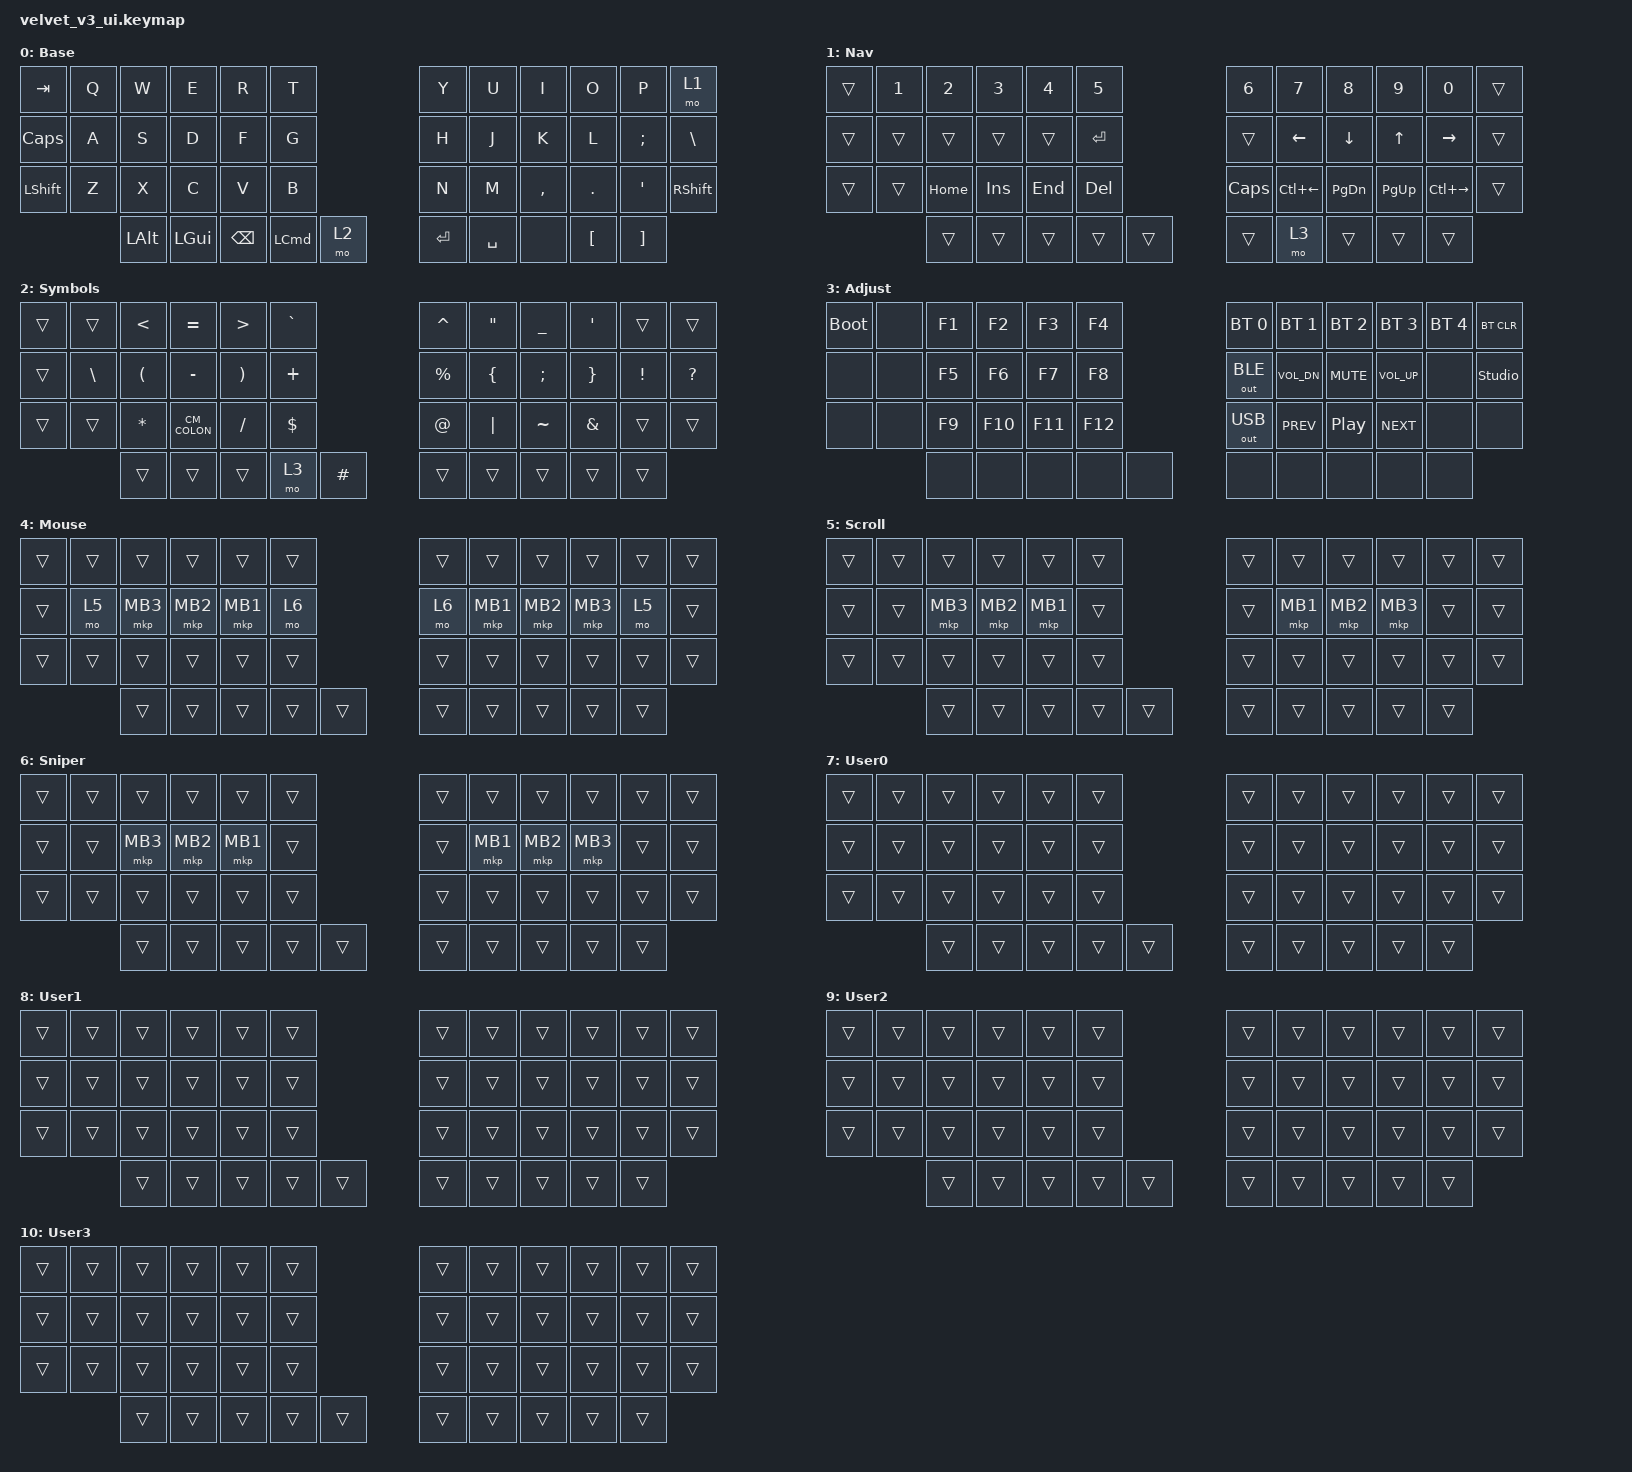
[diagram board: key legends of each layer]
#include "keys_ru.h"
#include "colemak_keys.h"
#include <dt-bindings/zmk/input_transform.h>
#include <input/processors.dtsi>
#include <zephyr/dt-bindings/input/input-event-codes.h>
#include <behaviors.dtsi>
#include <dt-bindings/zmk/bt.h>
#include <dt-bindings/zmk/keys.h>
#include <dt-bindings/zmk/outputs.h>
#include <dt-bindings/zmk/pointing.h>

/ {
    behaviors {
        cap_sen: cap_sen {
            compatible = "zmk,behavior-hold-tap";
            label = "CAP_SEN";
            bindings = <&mo>, <&mkp>;

            #binding-cells = <2>;
            tapping-term-ms = <150>;
            hold-while-undecided;
        };

        mouse_layer: mouse_layer {
            compatible = "zmk,behavior-sticky-key";
            label = "MOUSE_LAYER";
            bindings = <&mo>;
            #binding-cells = <1>;
            release-after-ms = <200>;
        };

        zip_auto_mouse: zip_auto_mouse {
            compatible = "zmk,input-processor-temp-layer";
            #input-processor-cells = <2>;
            require-prior-idle-ms = <800>;
            excluded-positions = <>;
        };
    };

    combos {
        compatible = "zmk,combos";

        left-curly-brace {
            bindings = <&kp LEFT_BRACE>;
            key-positions = <15 16>;
        };

        right-curly-bracen {
            bindings = <&kp RIGHT_BRACE>;
            key-positions = <19 20>;
        };
    };

    keymap {
        compatible = "zmk,keymap";

        base {
            bindings = <
&kp TAB       &kp Q  &kp W     &kp E     &kp R          &kp T                               &kp Y      &kp U  &kp I      &kp O     &kp P     &mo 1
&kp CAPSLOCK  &kp A  &kp S     &kp D     &kp F          &kp G                               &kp H      &kp J  &kp K      &kp L     &kp SEMI  &kp BSLH
&kp LSHFT     &kp Z  &kp X     &kp C     &kp V          &kp B                               &kp N      &kp M  &kp COMMA  &kp DOT   &kp SQT   &kp RSHFT
                     &kp LALT  &kp LGUI  &kp BACKSPACE  &kp LEFT_COMMAND  &mo 2    &kp RET  &kp SPACE  &none  &kp LBKT   &kp RBKT
            >;

            display-name = "Base";
        };

        nav {
            bindings = <
&trans  &kp N1  &kp N2    &kp N3   &kp N4   &kp N5                     &kp N6    &kp N7        &kp N8         &kp N9       &kp N0         &trans
&trans  &trans  &trans    &trans   &trans   &kp RET                    &trans    &kp LEFT      &kp DOWN       &kp UP       &kp RIGHT      &trans
&trans  &trans  &kp HOME  &kp INS  &kp END  &kp DEL                    &kp CLCK  &kp LC(LEFT)  &kp PAGE_DOWN  &kp PAGE_UP  &kp LC(RIGHT)  &trans
                &trans    &trans   &trans   &trans   &trans    &trans  &mo 3     &trans        &trans         &trans
            >;

            display-name = "Nav";
        };

        sym {
            bindings = <
&trans  &trans    &kp LT    &kp EQUAL  &kp GT    &kp GRAVE                      &kp CARET  &kp DQT   &kp UNDER  &kp SQT   &trans    &trans
&trans  &kp BSLH  &kp LPAR  &kp MINUS  &kp RPAR  &kp PLUS                       &kp PRCNT  &kp LBRC  &kp SEMI   &kp RBRC  &kp EXCL  &kp QUESTION
&trans  &trans    &kp STAR  &kp CM_COLON  &kp FSLH  &kp DLLR                       &kp AT     &kp PIPE  &kp TILDE  &kp AMPS  &trans    &trans
                  &trans    &trans     &trans    &mo 3      &kp HASH    &trans  &trans     &trans    &trans     &trans
            >;

            display-name = "Symbols";
        };

        adj {
            bindings = <
&bootloader  &none  &kp F1  &kp F2   &kp F3   &kp F4                   &bt BT_SEL 0  &bt BT_SEL 1  &bt BT_SEL 2      &bt BT_SEL 3  &bt BT_SEL 4  &bt BT_CLR
&none        &none  &kp F5  &kp F6   &kp F7   &kp F8                   &out OUT_BLE  &kp C_VOL_DN  &kp C_MUTE        &kp C_VOL_UP  &none         &studio_unlock
&none        &none  &kp F9  &kp F10  &kp F11  &kp F12                  &out OUT_USB  &kp C_PREV    &kp C_PLAY_PAUSE  &kp C_NEXT    &none         &none
                    &none   &none    &none    &none    &none    &none  &none         &none         &none             &none
            >;

            display-name = "Adjust";
        };

        mouse {
            bindings = <
&trans  &trans  &trans    &trans    &trans    &trans                    &trans  &trans    &trans    &trans    &trans  &trans
&trans  &mo 5   &mkp MB3  &mkp MB2  &mkp MB1  &mo 6                     &mo 6   &mkp MB1  &mkp MB2  &mkp MB3  &mo 5   &trans
&trans  &trans  &trans    &trans    &trans    &trans                    &trans  &trans    &trans    &trans    &trans  &trans
                &trans    &trans    &trans    &trans  &trans    &trans  &trans  &trans    &trans    &trans
            >;

            display-name = "Mouse";
        };

        scroll {
            bindings = <
&trans  &trans  &trans    &trans    &trans    &trans                    &trans  &trans    &trans    &trans    &trans  &trans
&trans  &trans  &mkp MB3  &mkp MB2  &mkp MB1  &trans                    &trans  &mkp MB1  &mkp MB2  &mkp MB3  &trans  &trans
&trans  &trans  &trans    &trans    &trans    &trans                    &trans  &trans    &trans    &trans    &trans  &trans
                &trans    &trans    &trans    &trans  &trans    &trans  &trans  &trans    &trans    &trans
            >;

            display-name = "Scroll";
        };

        sniper {
            bindings = <
&trans  &trans  &trans    &trans    &trans    &trans                    &trans  &trans    &trans    &trans    &trans  &trans
&trans  &trans  &mkp MB3  &mkp MB2  &mkp MB1  &trans                    &trans  &mkp MB1  &mkp MB2  &mkp MB3  &trans  &trans
&trans  &trans  &trans    &trans    &trans    &trans                    &trans  &trans    &trans    &trans    &trans  &trans
                &trans    &trans    &trans    &trans  &trans    &trans  &trans  &trans    &trans    &trans
            >;

            display-name = "Sniper";
        };

        User0 {
            bindings = <
&trans  &trans  &trans  &trans  &trans  &trans                    &trans  &trans  &trans  &trans  &trans  &trans
&trans  &trans  &trans  &trans  &trans  &trans                    &trans  &trans  &trans  &trans  &trans  &trans
&trans  &trans  &trans  &trans  &trans  &trans                    &trans  &trans  &trans  &trans  &trans  &trans
                &trans  &trans  &trans  &trans  &trans    &trans  &trans  &trans  &trans  &trans
            >;

            display-name = "User0";
        };

        User1 {
            bindings = <
&trans  &trans  &trans  &trans  &trans  &trans                    &trans  &trans  &trans  &trans  &trans  &trans
&trans  &trans  &trans  &trans  &trans  &trans                    &trans  &trans  &trans  &trans  &trans  &trans
&trans  &trans  &trans  &trans  &trans  &trans                    &trans  &trans  &trans  &trans  &trans  &trans
                &trans  &trans  &trans  &trans  &trans    &trans  &trans  &trans  &trans  &trans
            >;

            display-name = "User1";
        };

        User2 {
            bindings = <
&trans  &trans  &trans  &trans  &trans  &trans                    &trans  &trans  &trans  &trans  &trans  &trans
&trans  &trans  &trans  &trans  &trans  &trans                    &trans  &trans  &trans  &trans  &trans  &trans
&trans  &trans  &trans  &trans  &trans  &trans                    &trans  &trans  &trans  &trans  &trans  &trans
                &trans  &trans  &trans  &trans  &trans    &trans  &trans  &trans  &trans  &trans
            >;

            display-name = "User2";
        };

        User3 {
            bindings = <
&trans  &trans  &trans  &trans  &trans  &trans                    &trans  &trans  &trans  &trans  &trans  &trans
&trans  &trans  &trans  &trans  &trans  &trans                    &trans  &trans  &trans  &trans  &trans  &trans
&trans  &trans  &trans  &trans  &trans  &trans                    &trans  &trans  &trans  &trans  &trans  &trans
                &trans  &trans  &trans  &trans  &trans    &trans  &trans  &trans  &trans  &trans
            >;

            display-name = "User3";
        };
    };
};

&trackball { cpi = <2000>; };

&trackball_listener {
    input-processors = <&zip_auto_mouse 4 500>, <&zip_xy_scaler 9 20>;

    scroller {
        layers = <5>;
        input-processors =
            <&zip_xy_transform INPUT_TRANSFORM_Y_INVERT>,
            <&zip_xy_scaler 1 32>,
            <&zip_xy_to_scroll_mapper>;
    };

    sniper {
        layers = <6>;
        input-processors = <&zip_xy_scaler 1 4>;
    };
};
